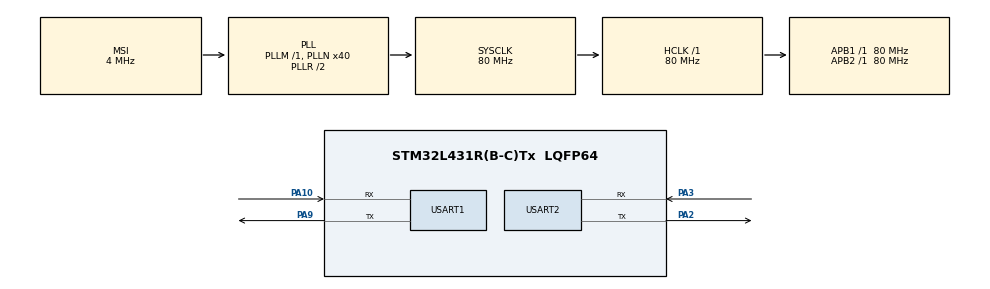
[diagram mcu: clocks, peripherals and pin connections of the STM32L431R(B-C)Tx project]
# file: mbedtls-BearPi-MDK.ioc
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Dma.Request0=USART2_TX
Dma.USART2_TX.0.Direction=DMA_MEMORY_TO_PERIPH
Dma.USART2_TX.0.Instance=DMA1_Channel7
Dma.USART2_TX.0.MemDataAlignment=DMA_MDATAALIGN_BYTE
Dma.USART2_TX.0.MemInc=DMA_MINC_ENABLE
Dma.USART2_TX.0.Mode=DMA_NORMAL
Dma.USART2_TX.0.PeriphDataAlignment=DMA_PDATAALIGN_BYTE
Dma.USART2_TX.0.PeriphInc=DMA_PINC_DISABLE
Dma.USART2_TX.0.Priority=DMA_PRIORITY_LOW
Mcu.Family=STM32L4
Mcu.Name=STM32L431R(B-C)Tx
Mcu.Package=LQFP64
NVIC.DMA1_Channel7_IRQn=true\:0\:0\:false\:false\:true\:false\:true
NVIC.PriorityGroup=NVIC_PRIORITYGROUP_4
NVIC.USART1_IRQn=true\:3\:0\:true\:false\:true\:true\:true
NVIC.USART2_IRQn=true\:2\:0\:true\:false\:true\:true\:true
PA10.Mode=Asynchronous
PA10.Signal=USART1_RX
PA2.Mode=Asynchronous
PA2.Signal=USART2_TX
PA3.Mode=Asynchronous
PA3.Signal=USART2_RX
PA9.Mode=Asynchronous
PA9.Signal=USART1_TX
PH0-OSC_IN\ (PH0).Mode=HSE-External-Oscillator
PH0-OSC_IN\ (PH0).Signal=RCC_OSC_IN
PH1-OSC_OUT\ (PH1).Mode=HSE-External-Oscillator
PH1-OSC_OUT\ (PH1).Signal=RCC_OSC_OUT
ProjectManager.HeapSize=0x200
ProjectManager.StackSize=0x400
ProjectManager.TargetToolchain=MDK-ARM V5
RCC.ADCFreq_Value=32000000
RCC.AHBFreq_Value=80000000
RCC.APB1Freq_Value=80000000
RCC.APB1TimFreq_Value=80000000
RCC.APB2Freq_Value=80000000
RCC.APB2TimFreq_Value=80000000
RCC.CortexFreq_Value=80000000
RCC.HCLKFreq_Value=80000000
RCC.HSE_VALUE=8000000
RCC.HSI48_VALUE=48000000
RCC.HSI_VALUE=16000000
RCC.LSE_VALUE=32768
RCC.MSI_VALUE=4000000
RCC.PLLN=40
RCC.PLLSAI1N=16
RCC.SYSCLKFreq_VALUE=80000000
RCC.SYSCLKSource=RCC_SYSCLKSOURCE_PLLCLK
RCC.VCOOutputFreq_Value=160000000
USART1.VirtualMode-Asynchronous=VM_ASYNC
USART2.VirtualMode-Asynchronous=VM_ASYNC
VP_RNG_VS_RNG.Mode=RNG_Activate
board=custom

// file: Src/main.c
/* USER CODE BEGIN Header */
/**
  ******************************************************************************
  * @file           : main.c
  * @brief          : Main program body
  ******************************************************************************
  * @attention
  *
  * <h2><center>&copy; Copyright (c) 2020 STMicroelectronics.
  * All rights reserved.</center></h2>
  *
  * This software component is licensed by ST under BSD 3-Clause license,
  * the "License"; You may not use this file except in compliance with the
  * License. You may obtain a copy of the License at:
  *                        opensource.org/licenses/BSD-3-Clause
  *
  ******************************************************************************
  */
/* USER CODE END Header */

#include "main.h"
#include "dma.h"
#include "rng.h"
#include "usart.h"
#include "gpio.h"

/* USER CODE BEGIN Includes */
#include <stdio.h>
/* USER CODE END Includes */

void SystemClock_Config(void);

/* USER CODE BEGIN 0 */
extern int mbedtls_ctr_drbg_test(void);

#include "mbedtls/md.h"
extern int mbedtls_shax_test(mbedtls_md_type_t md_type);

#include "mbedtls/cipher.h"
extern int aes_test(mbedtls_cipher_type_t cipher_type);

#include "mbedtls/md.h"
int mbedtls_hmac_test(mbedtls_md_type_t md_type);

#include "mbedtls/cipher.h"
int gcm_test(mbedtls_cipher_type_t cipher_type);

extern int mbedtls_rsa_test(void);

extern int mbedtls_dhm_test(void);

extern int mbedtls_ecdh_test(void);

extern int mbedtls_rsa_sign_test(void);

extern int mbedtls_ecdsa_test(void);

extern int mbedtls_x509_test(void);

/* USER CODE END 0 */

int main(void)
{

  /* MCU Configuration--------------------------------------------------------*/

  /* Reset of all peripherals, Initializes the Flash interface and the Systick. */
  HAL_Init();

  /* Configure the system clock */
  SystemClock_Config();

  /* Initialize all configured peripherals */
  MX_GPIO_Init();
  MX_USART1_UART_Init();
  MX_DMA_Init();
  MX_USART2_UART_Init();
  MX_RNG_Init();
  /* USER CODE BEGIN 2 */
    printf("mbedtls port on BearPi-STM32L431RC board by mculover666\r\n");

    /* 0. sha1 sha256 sha512 test */
    //mbedtls_shax_test(MBEDTLS_MD_SHA1);
    //mbedtls_shax_test(MBEDTLS_MD_SHA256);
    //mbedtls_shax_test(MBEDTLS_MD_SHA512);

    /* 1. crt_drbg test */
    //mbedtls_ctr_drbg_test();

    /* 2. aes test */
    //aes_test(MBEDTLS_CIPHER_AES_128_CBC);
    //aes_test(MBEDTLS_CIPHER_AES_128_CTR);

    /* 3. hamc test */
    //mbedtls_hmac_test(MBEDTLS_MD_SHA256);

    /* 4.gcm test */
    //gcm_test(MBEDTLS_CIPHER_AES_128_GCM);

    /* 5. rsa test */
    //mbedtls_rsa_test();

    /* 6. dh test */
    //mbedtls_dhm_test();

    /* 7. ecdh test */
    //mbedtls_ecdh_test();

    /* 8. rsa sign test */
    //mbedtls_rsa_sign_test();

    /* 9. ecdsa sign test */
    //mbedtls_ecdsa_test();

    /* 10. x509 test */
    mbedtls_x509_test();

  /* USER CODE END 2 */

  /* Infinite loop */
  while (1)
  {

  }
}

void SystemClock_Config(void)
{
  RCC_OscInitTypeDef RCC_OscInitStruct = {0};
  RCC_ClkInitTypeDef RCC_ClkInitStruct = {0};
  RCC_PeriphCLKInitTypeDef PeriphClkInit = {0};

  /** Initializes the CPU, AHB and APB busses clocks
  */
  RCC_OscInitStruct.OscillatorType = RCC_OSCILLATORTYPE_MSI;
  RCC_OscInitStruct.MSIState = RCC_MSI_ON;
  RCC_OscInitStruct.MSICalibrationValue = 0;
  RCC_OscInitStruct.MSIClockRange = RCC_MSIRANGE_6;
  RCC_OscInitStruct.PLL.PLLState = RCC_PLL_ON;
  RCC_OscInitStruct.PLL.PLLSource = RCC_PLLSOURCE_MSI;
  RCC_OscInitStruct.PLL.PLLM = 1;
  RCC_OscInitStruct.PLL.PLLN = 40;
  RCC_OscInitStruct.PLL.PLLP = RCC_PLLP_DIV7;
  RCC_OscInitStruct.PLL.PLLQ = RCC_PLLQ_DIV2;
  RCC_OscInitStruct.PLL.PLLR = RCC_PLLR_DIV2;
  if (HAL_RCC_OscConfig(&RCC_OscInitStruct) != HAL_OK)
  {
    Error_Handler();
  }
  /** Initializes the CPU, AHB and APB busses clocks
  */
  RCC_ClkInitStruct.ClockType = RCC_CLOCKTYPE_HCLK|RCC_CLOCKTYPE_SYSCLK
                              |RCC_CLOCKTYPE_PCLK1|RCC_CLOCKTYPE_PCLK2;
  RCC_ClkInitStruct.SYSCLKSource = RCC_SYSCLKSOURCE_PLLCLK;
  RCC_ClkInitStruct.AHBCLKDivider = RCC_SYSCLK_DIV1;
  RCC_ClkInitStruct.APB1CLKDivider = RCC_HCLK_DIV1;
  RCC_ClkInitStruct.APB2CLKDivider = RCC_HCLK_DIV1;

  if (HAL_RCC_ClockConfig(&RCC_ClkInitStruct, FLASH_LATENCY_4) != HAL_OK)
  {
    Error_Handler();
  }
  PeriphClkInit.PeriphClockSelection = RCC_PERIPHCLK_USART1|RCC_PERIPHCLK_USART2
                              |RCC_PERIPHCLK_RNG;
  PeriphClkInit.Usart1ClockSelection = RCC_USART1CLKSOURCE_PCLK2;
  PeriphClkInit.Usart2ClockSelection = RCC_USART2CLKSOURCE_PCLK1;
  PeriphClkInit.RngClockSelection = RCC_RNGCLKSOURCE_PLLSAI1;
  PeriphClkInit.PLLSAI1.PLLSAI1Source = RCC_PLLSOURCE_MSI;
  PeriphClkInit.PLLSAI1.PLLSAI1M = 1;
  PeriphClkInit.PLLSAI1.PLLSAI1N = 16;
  PeriphClkInit.PLLSAI1.PLLSAI1P = RCC_PLLP_DIV7;
  PeriphClkInit.PLLSAI1.PLLSAI1Q = RCC_PLLQ_DIV2;
  PeriphClkInit.PLLSAI1.PLLSAI1R = RCC_PLLR_DIV2;
  PeriphClkInit.PLLSAI1.PLLSAI1ClockOut = RCC_PLLSAI1_48M2CLK;
  if (HAL_RCCEx_PeriphCLKConfig(&PeriphClkInit) != HAL_OK)
  {
    Error_Handler();
  }
  /** Configure the main internal regulator output voltage
  */
  if (HAL_PWREx_ControlVoltageScaling(PWR_REGULATOR_VOLTAGE_SCALE1) != HAL_OK)
  {
    Error_Handler();
  }
}

void Error_Handler(void)
{
}

/************************ (C) COPYRIGHT STMicroelectronics *****END OF FILE****/
